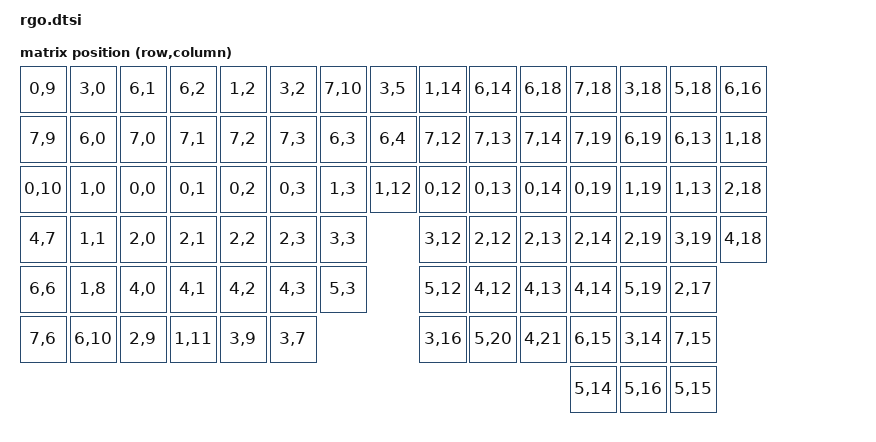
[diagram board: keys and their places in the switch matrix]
#include <dt-bindings/zmk/matrix_transform.h>

/ {
    chosen {
        zmk,kscan = &kscan0;
        zmk,matrix-transform = &default_transform;
    };

    kscan0: kscan {
        compatible = "zmk,kscan-gpio-matrix";
        diode-direction = "row2col";
        wakeup-source;
    };

    default_transform: keymap_transform0 {
        compatible = "zmk,matrix-transform";
        columns = <22>;
        rows = <8>;
        map = <
        RC(0, 9)  RC(3, 0)  RC(6, 1) RC(6, 2)  RC(1, 2) RC(3, 2) RC(7, 10) RC(3, 5)    RC(1, 14) RC(6, 14) RC(6, 18) RC(7, 18) RC(3, 18) RC(5, 18) RC(6, 16)
        RC(7, 9)  RC(6, 0)  RC(7, 0) RC(7, 1)  RC(7, 2) RC(7, 3) RC(6, 3)  RC(6, 4)    RC(7, 12) RC(7, 13) RC(7, 14) RC(7, 19) RC(6, 19) RC(6, 13) RC(1, 18)
        RC(0, 10) RC(1, 0)  RC(0, 0) RC(0, 1)  RC(0, 2) RC(0, 3) RC(1, 3)              RC(1, 12) RC(0, 12) RC(0, 13) RC(0, 14) RC(0, 19) RC(1, 19) RC(1, 13) RC(2, 18)
        RC(4, 7)  RC(1, 1)  RC(2, 0) RC(2, 1)  RC(2, 2) RC(2, 3) RC(3, 3)              RC(3, 12) RC(2, 12) RC(2, 13) RC(2, 14) RC(2, 19) RC(3, 19) RC(4, 18)
        RC(6, 6)  RC(1, 8)  RC(4, 0) RC(4, 1)  RC(4, 2) RC(4, 3) RC(5, 3)              RC(5, 12) RC(4, 12) RC(4, 13) RC(4, 14) RC(5, 19) RC(2, 17)
        RC(7, 6)  RC(6, 10) RC(2, 9) RC(1, 11) RC(3, 9) RC(3, 7)                       RC(3, 16) RC(5, 20) RC(4, 21) RC(6, 15) RC(3, 14) RC(7, 15)
                                                                                                                     RC(5, 14) RC(5, 16) RC(5, 15)
        >;
    };

};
